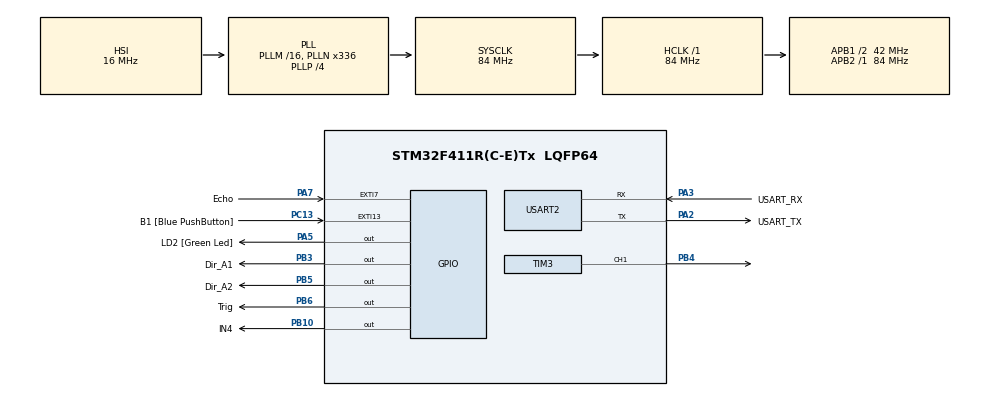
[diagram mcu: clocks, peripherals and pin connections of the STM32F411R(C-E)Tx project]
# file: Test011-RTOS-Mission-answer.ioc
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FREERTOS.BinarySemaphores01=myBinarySem01,Dynamic,NULL
FREERTOS.Tasks01=myTask01,0,128,StartTask01,Default,NULL,Dynamic,NULL,NULL;myTask02,-1,128,StartTask02,Default,NULL,Dynamic,NULL,NULL;myTask03,-2,128,StartTask03,Default,NULL,Dynamic,NULL,NULL;myTask04,-3,128,StartTask04,Default,NULL,Dynamic,NULL,NULL
FREERTOS.configUSE_NEWLIB_REENTRANT=1
Mcu.Family=STM32F4
Mcu.Name=STM32F411R(C-E)Tx
Mcu.Package=LQFP64
NVIC.EXTI9_5_IRQn=true\:5\:0\:false\:false\:true\:false\:true\:true\:true
NVIC.PriorityGroup=NVIC_PRIORITYGROUP_4
NVIC.TIM1_UP_TIM10_IRQn=true\:15\:0\:false\:false\:true\:false\:false\:true\:true
NVIC.TimeBase=TIM1_UP_TIM10_IRQn
NVIC.TimeBaseIP=TIM10
PA13.GPIO_Label=TMS
PA13.Mode=Serial_Wire
PA13.Signal=SYS_JTMS-SWDIO
PA14.GPIO_Label=TCK
PA14.Mode=Serial_Wire
PA14.Signal=SYS_JTCK-SWCLK
PA2.GPIO_Label=USART_TX
PA2.Mode=Asynchronous
PA2.Signal=USART2_TX
PA3.GPIO_Label=USART_RX
PA3.Mode=Asynchronous
PA3.Signal=USART2_RX
PA5.GPIO_Label=LD2 [Green Led]
PA5.GPIO_PuPd=GPIO_NOPULL
PA5.Signal=GPIO_Output
PA7.GPIO_Label=Echo
PA7.GPIO_ModeDefaultEXTI=GPIO_MODE_IT_RISING_FALLING
PA7.Signal=GPXTI7
PB10.GPIO_Label=IN4
PB10.Signal=GPIO_Output
PB3.GPIO_Label=Dir_A1
PB3.Signal=GPIO_Output
PB4.Signal=S_TIM3_CH1
PB5.GPIO_Label=Dir_A2
PB5.Signal=GPIO_Output
PB6.GPIO_Label=Trig
PB6.Signal=GPIO_Output
PC13-ANTI_TAMP.GPIO_Label=B1 [Blue PushButton]
PC13-ANTI_TAMP.GPIO_ModeDefaultEXTI=GPIO_MODE_IT_FALLING
PC13-ANTI_TAMP.Signal=GPXTI13
PC14-OSC32_IN.Mode=LSE-External-Oscillator
PC14-OSC32_IN.Signal=RCC_OSC32_IN
PC15-OSC32_OUT.Mode=LSE-External-Oscillator
PC15-OSC32_OUT.Signal=RCC_OSC32_OUT
PH0\ -\ OSC_IN.Mode=HSE-External-Clock-Source
PH0\ -\ OSC_IN.Signal=RCC_OSC_IN
PH1\ -\ OSC_OUT.Mode=HSE-External-Clock-Source
PH1\ -\ OSC_OUT.Signal=RCC_OSC_OUT
ProjectManager.HeapSize=0x200
ProjectManager.StackSize=0x400
ProjectManager.TargetToolchain=STM32CubeIDE
RCC.48MHZClocksFreq_Value=84000000
RCC.AHBFreq_Value=84000000
RCC.APB1CLKDivider=RCC_HCLK_DIV2
RCC.APB1Freq_Value=42000000
RCC.APB1TimFreq_Value=84000000
RCC.APB2Freq_Value=84000000
RCC.APB2TimFreq_Value=84000000
RCC.CortexFreq_Value=84000000
RCC.FLatency-AdvancedSettings=FLASH_LATENCY_2
RCC.HCLKFreq_Value=84000000
RCC.HSE_VALUE=8000000
RCC.HSI_VALUE=16000000
RCC.PLLN=336
RCC.PLLP=RCC_PLLP_DIV4
RCC.SYSCLKFreq_VALUE=84000000
RCC.SYSCLKSource=RCC_SYSCLKSOURCE_PLLCLK
RCC.VCOOutputFreq_Value=336000000
SH.S_TIM3_CH1.0=TIM3_CH1,PWM Generation1 CH1
TIM2.Prescaler=84-1
TIM3.Channel-PWM\ Generation1\ CH1=TIM_CHANNEL_1
TIM3.Period=1000-1
TIM3.Prescaler=84-1
USART2.VirtualMode=VM_ASYNC
VP_FREERTOS_VS_CMSIS_V1.Mode=CMSIS_V1
VP_SYS_VS_tim10.Mode=TIM10
VP_TIM2_VS_ClockSourceINT.Mode=Internal
VP_TIM3_VS_ClockSourceINT.Mode=Internal
board=NUCLEO-F411RE

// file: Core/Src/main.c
/* USER CODE BEGIN Header */
/**
  ******************************************************************************
  * @file           : main.c
  * @brief          : Main program body
  ******************************************************************************
  * @attention
  *
  * Copyright (c) 2025 STMicroelectronics.
  * All rights reserved.
  *
  * This software is licensed under terms that can be found in the LICENSE file
  * in the root directory of this software component.
  * If no LICENSE file comes with this software, it is provided AS-IS.
  *
  ******************************************************************************
  */
/* USER CODE END Header */
#include "main.h"
#include "cmsis_os.h"

TIM_HandleTypeDef htim2;
TIM_HandleTypeDef htim3;

UART_HandleTypeDef huart2;

osThreadId myTask01Handle;
osThreadId myTask02Handle;
osThreadId myTask03Handle;
osThreadId myTask04Handle;
osSemaphoreId myBinarySem01Handle;

void SystemClock_Config(void);
static void MX_GPIO_Init(void);
static void MX_USART2_UART_Init(void);
static void MX_TIM2_Init(void);
static void MX_TIM3_Init(void);
void StartTask01(void const * argument);
void StartTask02(void const * argument);
void StartTask03(void const * argument);
void StartTask04(void const * argument);

/* USER CODE BEGIN 0 */
void microDelay(int us) //us: micro second
{
	/*int t1 = htim2.Instance->CNT;
	while((htim2.Instance->CNT - t1)<us));*/

	htim2.Instance->CNT = 0;
	while(htim2.Instance->CNT <us);
}
void Trigger()
{
  HAL_GPIO_WritePin(Trig_GPIO_Port, Trig_Pin, 0);
  microDelay(10);
  HAL_GPIO_WritePin(Trig_GPIO_Port, Trig_Pin, 1);
  microDelay(10);
  HAL_GPIO_WritePin(Trig_GPIO_Port, Trig_Pin, 0);
  microDelay(10);
}

volatile int t0 = 0; int t1 = 0;
int dist = 0;//mm ( 1/1000 m)
void HAL_GPIO_EXTI_Callback(uint16_t GPIO_Pin)
{
	int tt = htim2.Instance->CNT;
	if(GPIO_Pin == Echo_Pin)
	{
		if(HAL_GPIO_ReadPin(Echo_GPIO_Port,Echo_Pin))//Rising
		{
			t0 = tt;
			//htim2.Instance->CNT = 0;
		}
		else //Falling
		{
			t1 =tt;
			dist = (t1-t0) * 0.17;
		}
	}

}

/* USER CODE END 0 */

int main(void)
{

  /* MCU Configuration--------------------------------------------------------*/

  /* Reset of all peripherals, Initializes the Flash interface and the Systick. */
  HAL_Init();

  /* Configure the system clock */
  SystemClock_Config();

  /* Initialize all configured peripherals */
  MX_GPIO_Init();
  MX_USART2_UART_Init();
  MX_TIM2_Init();
  MX_TIM3_Init();

  /* Create the semaphores(s) */
  /* definition and creation of myBinarySem01 */
  osSemaphoreDef(myBinarySem01);
  myBinarySem01Handle = osSemaphoreCreate(osSemaphore(myBinarySem01), 1);

  /* Create the thread(s) */
  /* definition and creation of myTask01 */
  osThreadDef(myTask01, StartTask01, osPriorityNormal, 0, 128);
  myTask01Handle = osThreadCreate(osThread(myTask01), NULL);

  /* definition and creation of myTask02 */
  osThreadDef(myTask02, StartTask02, osPriorityBelowNormal, 0, 128);
  myTask02Handle = osThreadCreate(osThread(myTask02), NULL);

  /* definition and creation of myTask03 */
  osThreadDef(myTask03, StartTask03, osPriorityLow, 0, 128);
  myTask03Handle = osThreadCreate(osThread(myTask03), NULL);

  /* definition and creation of myTask04 */
  osThreadDef(myTask04, StartTask04, osPriorityIdle, 0, 128);
  myTask04Handle = osThreadCreate(osThread(myTask04), NULL);

  /* USER CODE BEGIN RTOS_THREADS */
  /* add threads, ... */
  ProgramStart("RTOS - mission");
  HAL_TIM_Base_Start(&htim2);
  HAL_TIM_PWM_Start(&htim3, TIM_CHANNEL_1);
  HAL_GPIO_WritePin(Dir_A1_GPIO_Port, Dir_A1_Pin,1);
  HAL_GPIO_WritePin(Dir_A2_GPIO_Port, Dir_A2_Pin,0);
  osSemaphoreRelease(myBinarySem01Handle);
  /* USER CODE END RTOS_THREADS */

  /* Start scheduler */
  osKernelStart();

  /* We should never get here as control is now taken by the scheduler */
  /* Infinite loop */
  while (1)
  {

  }
}

void SystemClock_Config(void)
{
  RCC_OscInitTypeDef RCC_OscInitStruct = {0};
  RCC_ClkInitTypeDef RCC_ClkInitStruct = {0};

  /** Configure the main internal regulator output voltage
  */
  __HAL_RCC_PWR_CLK_ENABLE();
  __HAL_PWR_VOLTAGESCALING_CONFIG(PWR_REGULATOR_VOLTAGE_SCALE1);

  /** Initializes the RCC Oscillators according to the specified parameters
  * in the RCC_OscInitTypeDef structure.
  */
  RCC_OscInitStruct.OscillatorType = RCC_OSCILLATORTYPE_HSI;
  RCC_OscInitStruct.HSIState = RCC_HSI_ON;
  RCC_OscInitStruct.HSICalibrationValue = RCC_HSICALIBRATION_DEFAULT;
  RCC_OscInitStruct.PLL.PLLState = RCC_PLL_ON;
  RCC_OscInitStruct.PLL.PLLSource = RCC_PLLSOURCE_HSI;
  RCC_OscInitStruct.PLL.PLLM = 16;
  RCC_OscInitStruct.PLL.PLLN = 336;
  RCC_OscInitStruct.PLL.PLLP = RCC_PLLP_DIV4;
  RCC_OscInitStruct.PLL.PLLQ = 4;
  if (HAL_RCC_OscConfig(&RCC_OscInitStruct) != HAL_OK)
  {
    Error_Handler();
  }

  /** Initializes the CPU, AHB and APB buses clocks
  */
  RCC_ClkInitStruct.ClockType = RCC_CLOCKTYPE_HCLK|RCC_CLOCKTYPE_SYSCLK
                              |RCC_CLOCKTYPE_PCLK1|RCC_CLOCKTYPE_PCLK2;
  RCC_ClkInitStruct.SYSCLKSource = RCC_SYSCLKSOURCE_PLLCLK;
  RCC_ClkInitStruct.AHBCLKDivider = RCC_SYSCLK_DIV1;
  RCC_ClkInitStruct.APB1CLKDivider = RCC_HCLK_DIV2;
  RCC_ClkInitStruct.APB2CLKDivider = RCC_HCLK_DIV1;

  if (HAL_RCC_ClockConfig(&RCC_ClkInitStruct, FLASH_LATENCY_2) != HAL_OK)
  {
    Error_Handler();
  }
}

static void MX_TIM2_Init(void)
{

  TIM_ClockConfigTypeDef sClockSourceConfig = {0};
  TIM_MasterConfigTypeDef sMasterConfig = {0};

  htim2.Instance = TIM2;
  htim2.Init.Prescaler = 84-1;
  htim2.Init.CounterMode = TIM_COUNTERMODE_UP;
  htim2.Init.Period = 4294967295;
  htim2.Init.ClockDivision = TIM_CLOCKDIVISION_DIV1;
  htim2.Init.AutoReloadPreload = TIM_AUTORELOAD_PRELOAD_DISABLE;
  if (HAL_TIM_Base_Init(&htim2) != HAL_OK)
  {
    Error_Handler();
  }
  sClockSourceConfig.ClockSource = TIM_CLOCKSOURCE_INTERNAL;
  if (HAL_TIM_ConfigClockSource(&htim2, &sClockSourceConfig) != HAL_OK)
  {
    Error_Handler();
  }
  sMasterConfig.MasterOutputTrigger = TIM_TRGO_RESET;
  sMasterConfig.MasterSlaveMode = TIM_MASTERSLAVEMODE_DISABLE;
  if (HAL_TIMEx_MasterConfigSynchronization(&htim2, &sMasterConfig) != HAL_OK)
  {
    Error_Handler();
  }

}

static void MX_TIM3_Init(void)
{

  TIM_ClockConfigTypeDef sClockSourceConfig = {0};
  TIM_MasterConfigTypeDef sMasterConfig = {0};
  TIM_OC_InitTypeDef sConfigOC = {0};

  htim3.Instance = TIM3;
  htim3.Init.Prescaler = 84-1;
  htim3.Init.CounterMode = TIM_COUNTERMODE_UP;
  htim3.Init.Period = 1000-1;
  htim3.Init.ClockDivision = TIM_CLOCKDIVISION_DIV1;
  htim3.Init.AutoReloadPreload = TIM_AUTORELOAD_PRELOAD_DISABLE;
  if (HAL_TIM_Base_Init(&htim3) != HAL_OK)
  {
    Error_Handler();
  }
  sClockSourceConfig.ClockSource = TIM_CLOCKSOURCE_INTERNAL;
  if (HAL_TIM_ConfigClockSource(&htim3, &sClockSourceConfig) != HAL_OK)
  {
    Error_Handler();
  }
  if (HAL_TIM_PWM_Init(&htim3) != HAL_OK)
  {
    Error_Handler();
  }
  sMasterConfig.MasterOutputTrigger = TIM_TRGO_RESET;
  sMasterConfig.MasterSlaveMode = TIM_MASTERSLAVEMODE_DISABLE;
  if (HAL_TIMEx_MasterConfigSynchronization(&htim3, &sMasterConfig) != HAL_OK)
  {
    Error_Handler();
  }
  sConfigOC.OCMode = TIM_OCMODE_PWM1;
  sConfigOC.Pulse = 0;
  sConfigOC.OCPolarity = TIM_OCPOLARITY_HIGH;
  sConfigOC.OCFastMode = TIM_OCFAST_DISABLE;
  if (HAL_TIM_PWM_ConfigChannel(&htim3, &sConfigOC, TIM_CHANNEL_1) != HAL_OK)
  {
    Error_Handler();
  }
  HAL_TIM_MspPostInit(&htim3);

}

static void MX_USART2_UART_Init(void)
{

  huart2.Instance = USART2;
  huart2.Init.BaudRate = 115200;
  huart2.Init.WordLength = UART_WORDLENGTH_8B;
  huart2.Init.StopBits = UART_STOPBITS_1;
  huart2.Init.Parity = UART_PARITY_NONE;
  huart2.Init.Mode = UART_MODE_TX_RX;
  huart2.Init.HwFlowCtl = UART_HWCONTROL_NONE;
  huart2.Init.OverSampling = UART_OVERSAMPLING_16;
  if (HAL_UART_Init(&huart2) != HAL_OK)
  {
    Error_Handler();
  }

}

static void MX_GPIO_Init(void)
{
  GPIO_InitTypeDef GPIO_InitStruct = {0};

  /* GPIO Ports Clock Enable */
  __HAL_RCC_GPIOC_CLK_ENABLE();
  __HAL_RCC_GPIOH_CLK_ENABLE();
  __HAL_RCC_GPIOA_CLK_ENABLE();
  __HAL_RCC_GPIOB_CLK_ENABLE();

  /*Configure GPIO pin Output Level */
  HAL_GPIO_WritePin(LD2_GPIO_Port, LD2_Pin, GPIO_PIN_RESET);

  /*Configure GPIO pin Output Level */
  HAL_GPIO_WritePin(GPIOB, IN4_Pin|Dir_A1_Pin|Dir_A2_Pin|Trig_Pin, GPIO_PIN_RESET);

  /*Configure GPIO pin : B1_Pin */
  GPIO_InitStruct.Pin = B1_Pin;
  GPIO_InitStruct.Mode = GPIO_MODE_IT_FALLING;
  GPIO_InitStruct.Pull = GPIO_NOPULL;
  HAL_GPIO_Init(B1_GPIO_Port, &GPIO_InitStruct);

  /*Configure GPIO pin : LD2_Pin */
  GPIO_InitStruct.Pin = LD2_Pin;
  GPIO_InitStruct.Mode = GPIO_MODE_OUTPUT_PP;
  GPIO_InitStruct.Pull = GPIO_NOPULL;
  GPIO_InitStruct.Speed = GPIO_SPEED_FREQ_LOW;
  HAL_GPIO_Init(LD2_GPIO_Port, &GPIO_InitStruct);

  /*Configure GPIO pin : Echo_Pin */
  GPIO_InitStruct.Pin = Echo_Pin;
  GPIO_InitStruct.Mode = GPIO_MODE_IT_RISING_FALLING;
  GPIO_InitStruct.Pull = GPIO_NOPULL;
  HAL_GPIO_Init(Echo_GPIO_Port, &GPIO_InitStruct);

  /*Configure GPIO pins : IN4_Pin Dir_A1_Pin Dir_A2_Pin Trig_Pin */
  GPIO_InitStruct.Pin = IN4_Pin|Dir_A1_Pin|Dir_A2_Pin|Trig_Pin;
  GPIO_InitStruct.Mode = GPIO_MODE_OUTPUT_PP;
  GPIO_InitStruct.Pull = GPIO_NOPULL;
  GPIO_InitStruct.Speed = GPIO_SPEED_FREQ_LOW;
  HAL_GPIO_Init(GPIOB, &GPIO_InitStruct);

  /* EXTI interrupt init*/
  HAL_NVIC_SetPriority(EXTI9_5_IRQn, 5, 0);
  HAL_NVIC_EnableIRQ(EXTI9_5_IRQn);

}

void StartTask01(void const * argument)
{
  /* USER CODE BEGIN 5 */
  /* Infinite loop */
  for(;;)
  {
	  if(osSemaphoreWait(myBinarySem01Handle,0)==osOK)
	  {
		  Trigger();HAL_Delay(60);
		  osSemaphoreRelease(myBinarySem01Handle);
	  }
    osDelay(1);
  }
  /* USER CODE END 5 */
}

void StartTask02(void const * argument)
{
  /* USER CODE BEGIN StartTask02 */
  /* Infinite loop */
  for(;;)
  {
	  if(osSemaphoreWait(myBinarySem01Handle,0)==osOK)
	  	  {

	  		  osSemaphoreRelease(myBinarySem01Handle);
	  	  }
    osDelay(1);
  }
  /* USER CODE END StartTask02 */
}

/* USER CODE BEGIN Header_StartTask03 */
/**
* @brief Function implementing the myTask03 thread.
* @param argument: Not used
* @retval None
*/
int dr = 30, dr1 = 30, dr2 = 50, dr3 = 90;
/* USER CODE END Header_StartTask03 */
void StartTask03(void const * argument)
{
  /* USER CODE BEGIN StartTask03 */
  /* Infinite loop */
  for(;;)
  {
	  if(osSemaphoreWait(myBinarySem01Handle,0)==osOK)
		  {
		  	  if(dist < 500)//break
		  	  {
		  		  dr = 0; //power = 0
		  	  }

		  	  if(dist < 1000)//mm
		  	  {
		  		 dr = dr1;
		  	  }
		  	  else if(dist < 2000)
		  	  {
		  		  dr = dr2;
		  	  }
		  	  else
		  	  {
		  		  dr = dr3;
		  	  }
		  	  htim3.Instance->CCR1 = htim3.Instance->ARR*dr/100; //[%]
			  HAL_Delay(100);
		  	  osSemaphoreRelease(myBinarySem01Handle);
		  }
    osDelay(1);
  }
  /* USER CODE END StartTask03 */
}

void StartTask04(void const * argument)
{
  /* USER CODE BEGIN StartTask04 */
  /* Infinite loop */
  for(;;)
  {
	  if(osSemaphoreWait(myBinarySem01Handle,0)==osOK)
	  	  {
		  	  int dm = dist / 1000; //meter
		  	  int dc = ((int)(dist / 10))%100; //cm
		  	  printf("Current distance : %dm %dcm (%d mm)\r\n",dm , dc,  dist);
	  		  osSemaphoreRelease(myBinarySem01Handle);
	  	  }
    osDelay(1);
  }
  /* USER CODE END StartTask04 */
}

void HAL_TIM_PeriodElapsedCallback(TIM_HandleTypeDef *htim)
{
  if (htim->Instance == TIM10) {
    HAL_IncTick();
  }
}

void Error_Handler(void)
{
  __disable_irq();
  while (1)
  {
  }
}
